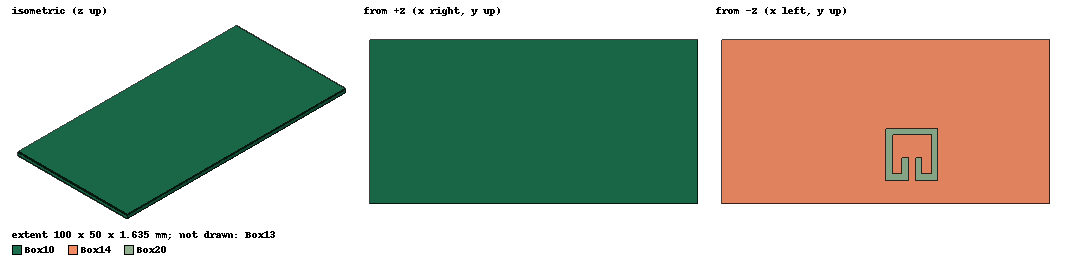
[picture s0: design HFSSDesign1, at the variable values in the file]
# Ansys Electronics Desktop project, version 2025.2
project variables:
  $length = 16mm
  $width = 16mm
  $Indent = 7mm
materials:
  vacuum: permittivity=1
  copper: permeability=0.999991 conductivity=58000000
  air: permittivity=1.0006 permeability=1.0000004
  graphite: conductivity=70000
  FR4_epoxy: permittivity=4.4 dielectric_loss_tangent=0.02
  cast_iron: permeability=60 conductivity=1500000
  CF - Carbon fiber: conductivity=252.337
  aluminum: permeability=1.000021 conductivity=38000000

design HFSSDesign1 (HFSS, HFSS Terminal Network, model units mm)
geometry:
  Box10 [FR4_epoxy] = box(corner=(50mm, 73mm, 0.8mm), size=(-100mm, 50mm, -1.6mm))
  Cylinder2 [CF - Carbon fiber, non-model] = cylinder(axis=X, base_centre=(-200mm, 0mm, 0mm), radius=73mm, height=400mm, segments=32)
  Cylinder3 = cylinder(axis=X, base_centre=(200mm, 0mm, 0mm), radius=70mm, height=-400mm)
  Cylinder2.subtract(Cylinder3)
  Box13 [air] = box(corner=(-250mm, 200mm, 100mm), size=(500mm, -400mm, -200mm))
  Box14 [copper] = box(corner=(50mm, 73mm, -0.8mm), size=(-100mm, 50mm, -0.035mm))
  Cylinder4 [aluminum, non-model] = cylinder(axis=X, base_centre=(-100mm, 0mm, 0mm), radius=70mm, height=200mm, segments=32)
  Cylinder5 = cylinder(axis=X, base_centre=(100mm, 0mm, 0mm), radius=66.5mm, height=-200mm)
  Cylinder4.subtract(Cylinder5)
  Box15 = box(corner=(50mm, 113mm, 0.035mm), size=($width, $length, 0mm))
  Box16 = box(corner=(52mm, 115mm, 0.035mm), size=($length-4mm, $width-4mm, 0mm))
  Box17 = box(corner=(53mm+$width/2-4mm, 113mm, 0.035mm), size=(2mm, 10mm, 0mm))
  Box18 = box(corner=(55mm+$width/2-4mm, 113mm, 0.035mm), size=(2mm, $Indent, 0mm))
  Box19 = box(corner=(51mm+$width/2-4mm, 113mm, 0.035mm), size=(2mm, $Indent, 0mm))
  Box15.subtract(Box16, Box17)
  Box15.unite(Box18, Box19)
  Box15.move(-66mm, -65mm, -0.835mm)
  coordinate_system RelativeCS1 = origin=(16mm, 76mm, -0.8mm) x=(1mm, 0mm, 0mm) y=(0mm, 1mm, 0mm)
  Box15.rotate(axis=Z, angle=0deg) in RelativeCS1
  Box15.thicken(35um)
  Box15.move(0mm, 32mm, 0mm)
  Box14.subtract(Box15)
  coordinate_system RelativeCS2 = origin=(0mm, 73mm, 0mm) x=(8mm, 0mm, -4mm) y=(0mm, 0mm, -20mm)
  Box20 = box(corner=(50mm, 113mm, 0.035mm), size=($width, $length, 0mm))
  Box21 = box(corner=(52mm, 115mm, 0.035mm), size=($length-4mm, $width-4mm, 0mm))
  Box22 = box(corner=(53mm+$width/2-4mm, 113mm, 0.035mm), size=(2mm, 10mm, 0mm))
  Box20.subtract(Box21, Box22)
  Box23 = box(corner=(55mm+$width/2-4mm, 113mm, 0.035mm), size=(2mm, $Indent, 0mm))
  Box24 = box(corner=(51mm+$width/2-4mm, 113mm, 0.035mm), size=(2mm, $Indent, 0mm))
  Box20.unite(Box23, Box24)
  Box20.move(-66mm, -65mm, -0.835mm)
  coordinate_system RelativeCS3 = origin=(16mm, 76mm, -0.8mm) x=(1mm, 0mm, 0mm) y=(0mm, 1mm, 0mm)
  Box20.rotate(axis=Z, angle=0deg) in RelativeCS3
  Box20.thicken(35um)
  Box20.move(0mm, 32mm, 0mm)
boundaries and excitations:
  Rad1: Radiation Objects=Box13
  reference conductors: Box14
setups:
  Setup1: HfssDriven Frequency=1.575GHz MaxDeltaE=0.1 MaximumPasses=10 MinimumPasses=1 MinimumConvergedPasses=1 PercentRefinement=30 BasisOrder=1 DrivenSolverType="Direct Solver"
    sweep Sweep: 500MHz to 4000MHz, 2000 points; Type=Interpolating InterpTolerance=0.5 InterpMaxSolns=50 PassivityErrorTolerance=0.0001
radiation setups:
  Infinite Sphere1: Infinite Sphere Theta=0deg..180deg step 2deg Phi=-180deg..180deg step 2deg
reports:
  Gain Plot3: dB(GainTotal) vs Phi, Theta on Setup1 : LastAdaptive, Infinite Sphere1 [Freq=1.575GHz]
  Terminal S Parameter Plot1: dB(St(Box21_T1,Box21_T1)) vs Freq on Setup1 : Sweep
  Terminal VSWR Plot1: VSWRt(Box21_T1) vs Freq on Setup1 : Sweep
